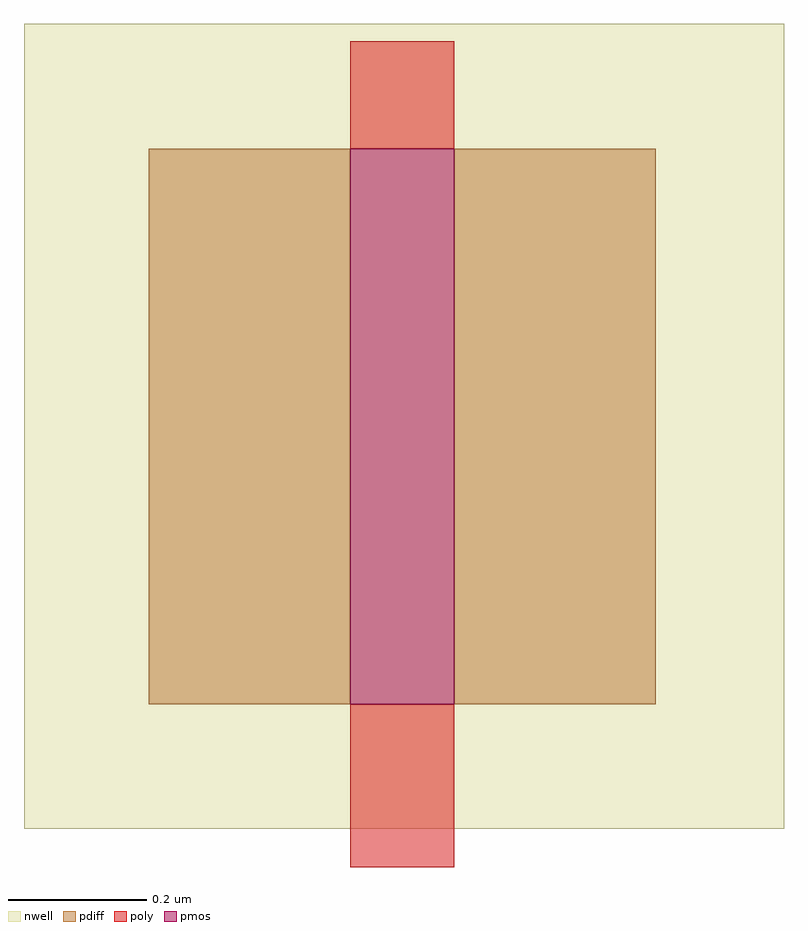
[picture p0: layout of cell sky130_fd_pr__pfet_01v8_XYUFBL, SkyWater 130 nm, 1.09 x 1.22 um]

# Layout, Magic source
magic
tech sky130A
magscale 1 2
<< nwell >>
rect -109 -116 110 116
<< pmos >>
rect -15 -80 15 80
<< pdiff >>
rect -73 -80 -15 80
rect 15 -80 73 80
<< poly >>
rect -15 80 15 111
rect -15 -127 15 -80
<< properties >>
string FIXED_BBOX -158 -246 158 246
string gencell sky130_fd_pr__pfet_01v8
string library sky130
string parameters w 0.8 l 0.15 m 1 nf 1 diffcov 100 polycov 100 guard 1 glc 1 grc 1 gtc 1 gbc 1 tbcov 100 rlcov 100 topc 1 botc 1 poverlap 0 doverlap 1 lmin 0.15 wmin 0.42 compatible {sky130_fd_pr__pfet_01v8  sky130_fd_pr__pfet_01v8_lvt sky130_fd_pr__pfet_01v8_hvt  sky130_fd_pr__pfet_g5v0d10v5} full_metal 1 viasrc 100 viadrn 100 viagate 100 viagb 0 viagr 0 viagl 0 viagt 0
<< end >>
